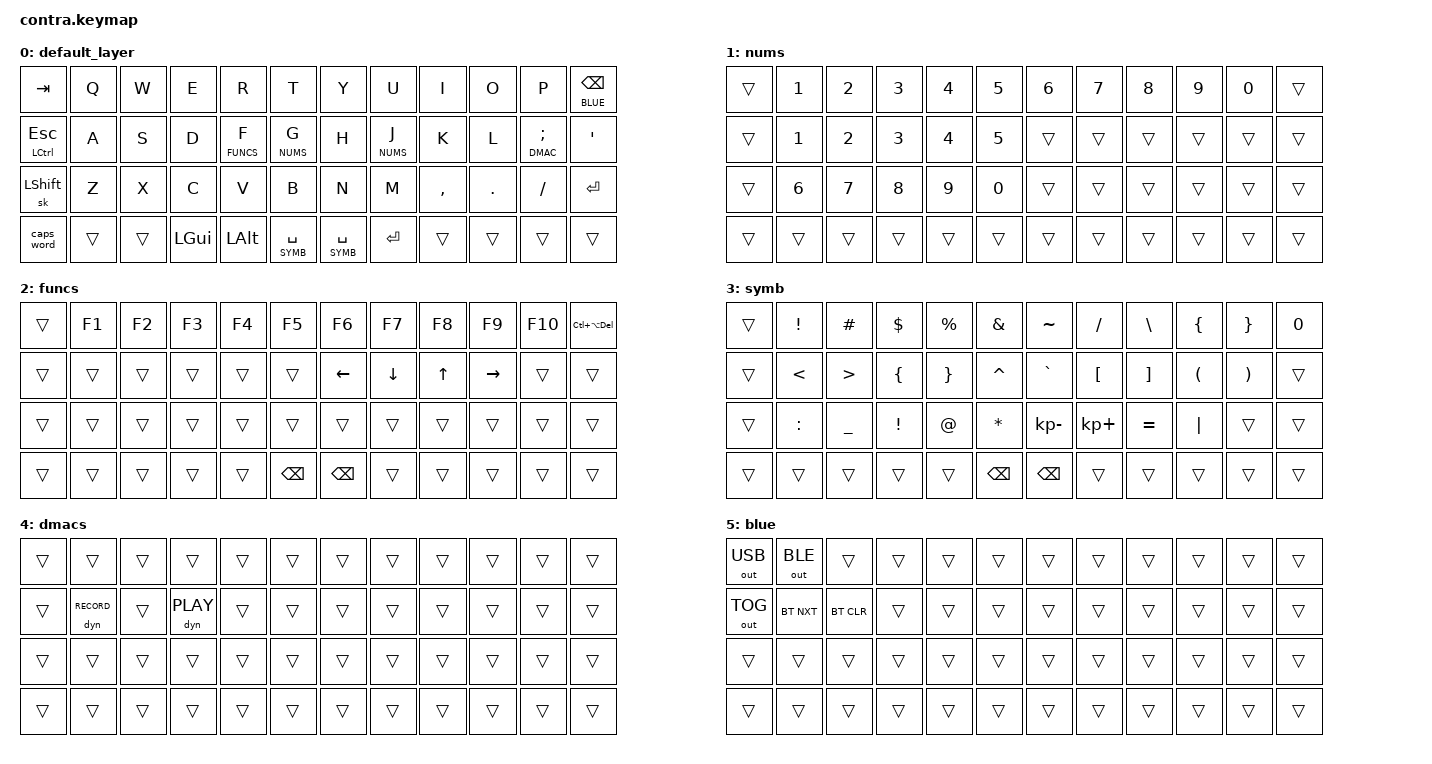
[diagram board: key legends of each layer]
/*
 * Copyright (c) 2021 The ZMK Contributors
 *
 * SPDX-License-Identifier: MIT
 */

#include <behaviors.dtsi>
#include <dt-bindings/zmk/keys.h>
#include <dt-bindings/zmk/bt.h>
#include <dt-bindings/zmk/outputs.h>
#include <dt-bindings/zmk/dynamic-macros.h>

/ {
    macros {
        dyn: dyn {
            label = "ZM_dynamic-macro";
            compatible = "zmk,behavior-dynamic-macro";
            #binding-cells = <1>;
			no-output; // do not forward keystrokes to the host while recording
			wait-ms = <15>; // disable so that recorded macros play back in the same speed they were recorded at
        };
    };
};


#define TAPPING_TERM 210
#define QUICK_TAP    150


&lt {
	flavor = "balanced";
	tapping-term-ms = <TAPPING_TERM>;
	quick-tap-ms = <QUICK_TAP>;
};

&mt {
	flavor = "balanced";
	tapping-term-ms = <TAPPING_TERM>;
	quick-tap-ms = <QUICK_TAP>;
};

&caps_word {
	continue-list = <UNDER MINUS BSPC LSHFT RSHFT LS(SPACE) RS(SPACE)>;
};


#define DEFAULT  0
#define NUMS     1
#define FUNCS    2
#define SYMB     3
#define DMAC     4
#define BLUE     5

#define COMBO(name, keypress, keypos) \
combo_##name {                        \
   timeout-ms = <50>;                 \
   bindings = <keypress>;             \
   key-positions = <keypos>;          \
};

/ {
    combos {
        compatible = "zmk,combos";
        combo_jk {
            timeout-ms = <50>;
            key-positions = <19 20>;
            bindings = <&kp LC(A)>;
        };


    };
};

/ {
    keymap {
        compatible = "zmk,keymap";

        default_layer {
            bindings = <
            &kp TAB           &kp Q             &kp W            &kp E             &kp R               &kp T              &kp Y             &kp U                &kp I             &kp O             &kp P            &lt BLUE BSPC
            &mt LCTRL ESC     &kp A             &kp S            &kp D             &lt FUNCS F         &lt NUMS G         &kp H             &lt NUMS J           &kp K             &kp L             &lt DMAC SEMI    &kp SQT
            &sk LSHFT         &kp Z             &kp X            &kp C             &kp V               &kp B              &kp N             &kp M                &kp COMMA         &kp DOT           &kp FSLH         &kp ENTER
            &caps_word        &trans            &trans           &kp LGUI          &kp LALT            &lt SYMB SPACE     &lt SYMB SPACE    &kp ENTER            &trans            &trans            &trans           &trans
            >;
        };

        nums {
            bindings = <
            &trans            &kp N1            &kp N2           &kp N3            &kp N4             &kp N5              &kp N6           &kp N7                &kp N8            &kp N9            &kp N0          &trans
            &trans            &kp N1            &kp N2           &kp N3            &kp N4             &kp N5              &trans           &trans                &trans            &trans            &trans          &trans
            &trans            &kp N6            &kp N7           &kp N8            &kp N9             &kp N0              &trans           &trans                &trans            &trans            &trans          &trans
            &trans            &trans            &trans           &trans            &trans             &trans              &trans           &trans                &trans            &trans            &trans          &trans
            >;
        };

        funcs {
            bindings = <
            &trans            &kp F1            &kp F2           &kp F3           &kp F4              &kp F5             &kp F6            &kp F7              &kp F8            &kp F9            &kp F10          &kp LC(LA(DEL))
            &trans            &trans            &trans           &trans           &trans              &trans             &kp LEFT          &kp DOWN            &kp UP            &kp RIGHT         &trans           &trans
            &trans            &trans            &trans           &trans           &trans              &trans             &trans            &trans              &trans            &trans            &trans           &trans
            &trans            &trans            &trans           &trans           &trans              &kp BSPC           &kp BSPC          &trans              &trans            &trans            &trans           &trans
            >;
        };
        symb {
            bindings = <
            &trans            &kp EXCL          &kp HASH         &kp DLLR         &kp PRCNT           &kp AMPS           &kp TILDE         &kp SLASH           &kp BSLH          &kp LBRC          &kp RBRC         &kp N0
            &trans            &kp LT            &kp GT           &kp LBRC         &kp RBRC            &kp CARET          &kp GRAVE         &kp LBKT            &kp RBKT          &kp LPAR          &kp RPAR         &trans
            &trans            &kp COLON         &kp UNDER        &kp EXCL         &kp AT              &kp STAR           &kp KP_MINUS      &kp KP_PLUS         &kp EQUAL      &kp PIPE          &trans           &trans
            &trans            &trans            &trans           &trans           &trans              &kp BSPC           &kp BSPC          &trans              &trans            &trans            &trans           &trans
            >;
        };
        dmacs {
            bindings = <
            &trans            &trans            &trans           &trans           &trans              &trans             &trans            &trans              &trans            &trans            &trans           &trans
            &trans            &dyn RECORD       &trans           &dyn PLAY        &trans              &trans             &trans            &trans              &trans            &trans            &trans           &trans
            &trans            &trans            &trans           &trans           &trans              &trans             &trans            &trans              &trans            &trans            &trans           &trans
            &trans            &trans            &trans           &trans           &trans              &trans             &trans            &trans              &trans            &trans            &trans           &trans
            >;
        };
        blue {
            bindings = <
            &out OUT_USB      &out OUT_BLE      &trans           &trans           &trans              &trans             &trans            &trans              &trans            &trans            &trans           &trans
            &out OUT_TOG      &bt BT_NXT        &bt BT_CLR       &trans           &trans              &trans             &trans            &trans              &trans            &trans            &trans           &trans
            &trans            &trans            &trans           &trans           &trans              &trans             &trans            &trans              &trans            &trans            &trans           &trans
            &trans            &trans            &trans           &trans           &trans              &trans             &trans            &trans              &trans            &trans            &trans           &trans
            >;
        };
    };
};
